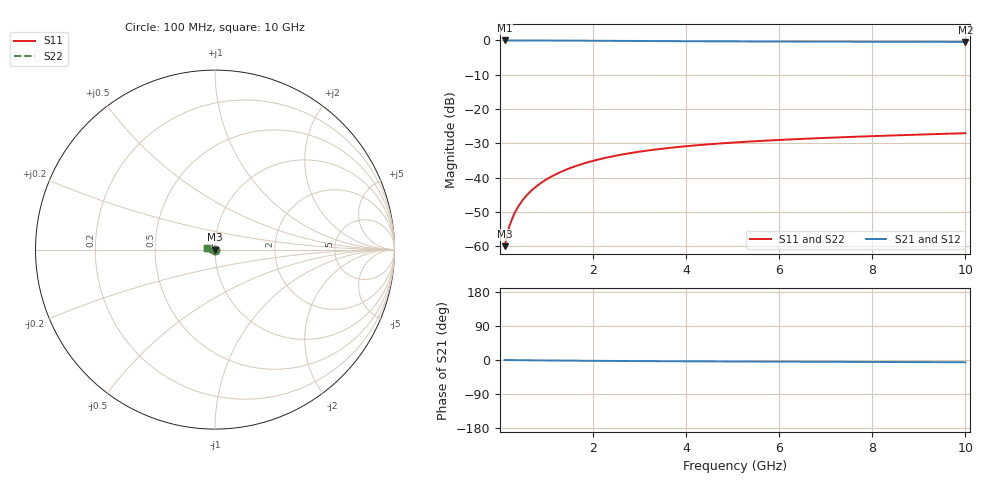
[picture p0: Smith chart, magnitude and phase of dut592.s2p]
! Touchstone file exported from HFSS 2024.1.0
!  File:  C:/UserFiles/LocalFiles/RDL_TSV_Batchsim/temp_TSV1_592_1779710234.aedt
!  Generated:  08:02:22 PM May 25, 2026
!  Design:  TSV1
!  Project:  temp_TSV1_592_1779710234
!  Setup:  Setup1
!  Solution:  Sweep
! Variables:
!  dtsv = 7.2um
!  hbump = 3um
!  htsv = 93.26um
!  lrdl = 252.1521522um
!  p = 40
!  p1 = 45.01um
!  t = 500um
!  trdl = 3um
!  wrdl = 24.89489489um
# GHz S MA R 50.000000
! Terminal data exported
! Port[1] = TSV22_T1
! Port[2] = TSV22_T2
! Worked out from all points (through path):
!   100 points, 100 MHz to 10 GHz, reference 50 ohm
!   highest |S21| = 0.00 dB at 100 MHz (marker M1); lowest = -0.4 dB at 10 GHz (marker M2)
!   lowest |S11| = -59.9 dB at 100 MHz (marker M3), VSWR 1.00, Z = 50 - j0.0971 ohm
!   |S11| at or under -10 dB: start of sweep to end of sweep
!   |S22| runs from -59.9 to -27.0 dB; largest |S21 - S12| = 8.6e-15
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0.1  0.001009 -74.1  0.9997 -0.1  0.9997 -0.1  0.001009 -74.1
! Gamma 0 0 0 0
! Port Impedance 50 0 50 0
0.2  0.001963 -84.4  0.9996 -0.2  0.9996 -0.2  0.001963 -84.4
0.3  0.002926 -89.2  0.9994 -0.4  0.9994 -0.4  0.002926 -89.2
0.4  0.003887 -92.5  0.9992 -0.5  0.9992 -0.5  0.003887 -92.5
0.5  0.004843 -95.2  0.9989 -0.6  0.9989 -0.6  0.004843 -95.2
0.6  0.005792 -97.6  0.9986 -0.7  0.9986 -0.7  0.005792 -97.6
0.7  0.006731 -99.8  0.9982 -0.8  0.9982 -0.8  0.006731 -99.8
0.8  0.00766 -101.8  0.9977 -1.0  0.9977 -1.0  0.00766 -101.8
0.9  0.008577 -103.8  0.9973 -1.1  0.9973 -1.1  0.008577 -103.8
1.1  0.01037 -107.6  0.9962 -1.3  0.9962 -1.3  0.01037 -107.6
1.4  0.01295 -112.9  0.9942 -1.6  0.9942 -1.6  0.01295 -112.9
1.6  0.01458 -116.3  0.9928 -1.8  0.9928 -1.8  0.01458 -116.3
1.8  0.01614 -119.6  0.9913 -2.0  0.9913 -2.0  0.01614 -119.6
2.1  0.01835 -124.3  0.9889 -2.2  0.9889 -2.2  0.01835 -124.3
2.5  0.02103 -130.1  0.9857 -2.6  0.9857 -2.6  0.02103 -130.1
2.9  0.02343 -135.6  0.9824 -2.8  0.9824 -2.8  0.02343 -135.6
3.4  0.02608 -141.9  0.9786 -3.1  0.9786 -3.1  0.02608 -141.9
4.2  0.02962 -150.9  0.9731 -3.6  0.9731 -3.6  0.02962 -150.9
5.1  0.03285 -159.7  0.9679 -4.0  0.9679 -4.0  0.03285 -159.7
6.7  0.03736 -172.6  0.961 -4.6  0.961 -4.6  0.03736 -172.6
8.4  0.04126 176.2  0.9561 -5.3  0.9561 -5.3  0.04126 176.2
10  0.04456 167.4  0.9528 -5.9  0.9528 -5.9  0.04456 167.4
